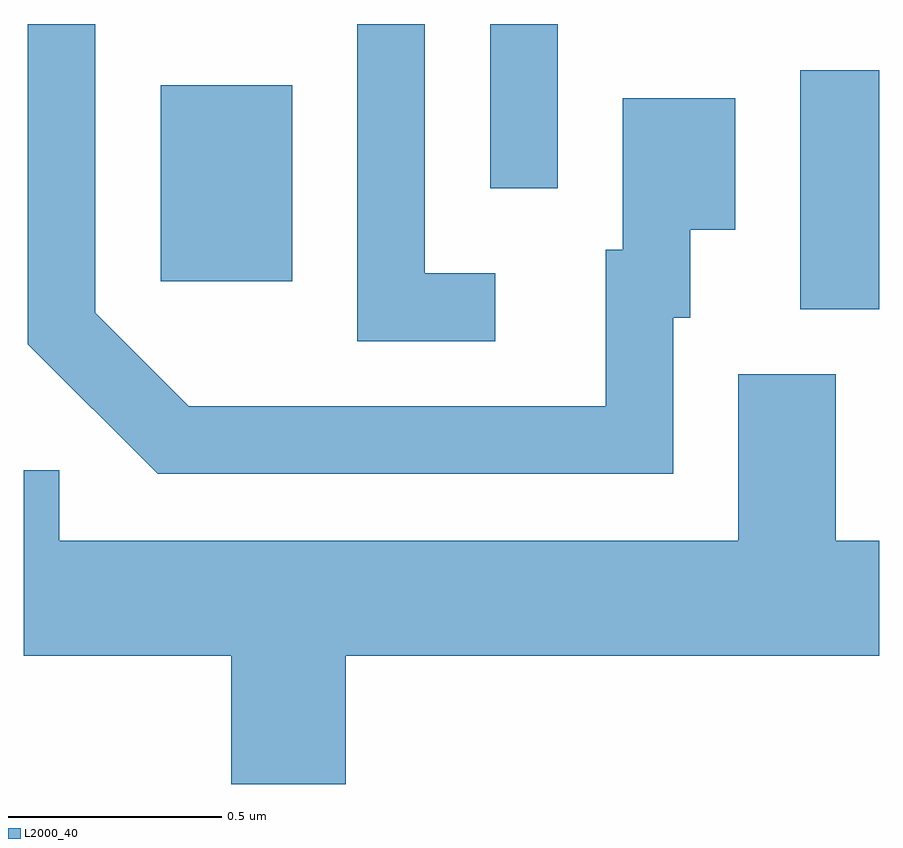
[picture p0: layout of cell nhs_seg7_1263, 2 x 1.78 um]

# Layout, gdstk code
import gdstk
lib = gdstk.Library(unit=1e-6, precision=1e-09)
def R(c, l, rs):  # rectangles x0, y0, x1, y1
    for r in rs: c.add(gdstk.rectangle(r[:2], r[2:], *l))
def P(c, l, *ps):  # polygons
    for p in ps: c.add(gdstk.Polygon(p, *l))
L2000_40 = (2000, 40)

nhs_seg7_1263 = lib.new_cell('nhs_seg7_1263')
R(nhs_seg7_1263, L2000_40, [(196.426,1699.586,196.611,1700.144), (194.931,1699.651,195.239,1700.109), (195.701,1699.868,195.859,1700.252)])
P(nhs_seg7_1263, L2000_40, [(195.713,1699.669),(195.549,1699.669),(195.549,1700.252),(195.391,1700.252),(195.391,1699.511),(195.713,1699.511)],
  [(196.129,1699.566),(196.169,1699.566),(196.169,1699.771),(196.274,1699.771),(196.274,1700.079),(196.011,1700.079),(196.011,1699.724),(195.971,1699.724),(195.971,1699.359),(194.997,1699.359),(194.779,1699.577),(194.779,1700.252),(194.621,1700.252),(194.621,1699.504),(194.924,1699.201),(196.129,1699.201)],
  [(195.364,1698.776),(196.611,1698.776),(196.611,1699.044),(196.509,1699.044),(196.509,1699.434),(196.281,1699.434),(196.281,1699.044),(194.694,1699.044),(194.694,1699.209),(194.611,1699.209),(194.611,1698.776),(195.096,1698.776),(195.096,1698.476),(195.364,1698.476)])

lib.write_gds('nhs_seg7_1263.gds')
